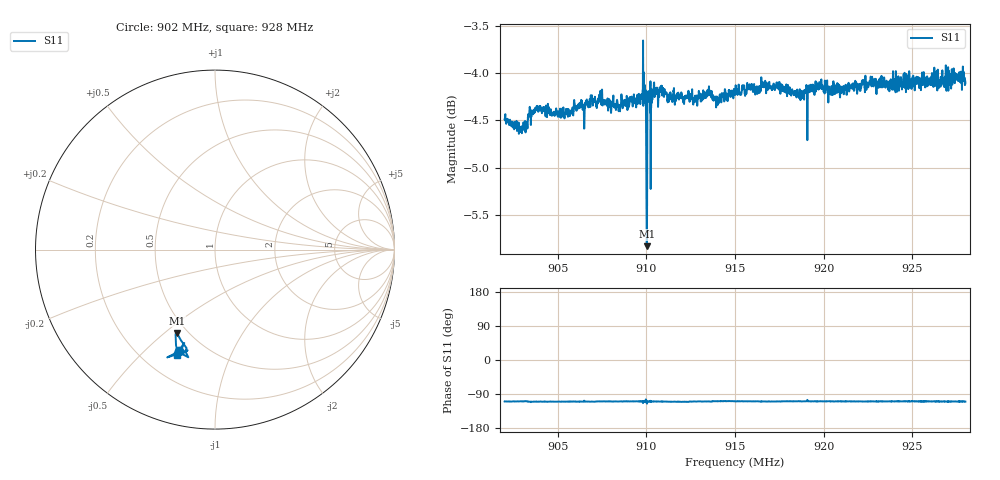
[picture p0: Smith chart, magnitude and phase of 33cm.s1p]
! Calibrated averaged scanner-service zoom
# Hz S RI R 50
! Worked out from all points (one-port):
!   2001 points, 902 MHz to 928 MHz, reference 50 ohm
!   lowest |S11| = -5.8 dB at 910.02 MHz (marker M1), VSWR 3.09, Z = 21.9 - j27.6 ohm
!   |S11| at or under -10 dB: nowhere
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9.02e8  -0.199 -0.5624
9.0317e8  -0.1916 -0.5596
9.03443e8  -0.2104 -0.5662
9.0525e8  -0.2036 -0.5661
9.06602e8  -0.2035 -0.5723
9.06992e8  -0.2107 -0.5724
9.07382e8  -0.2008 -0.5752
9.085e8  -0.1992 -0.5719
9.09839e8  -0.2238 -0.591
9.09917e8  -0.21 -0.5835
9.10021e8  -0.2121 -0.4649
9.10125e8  -0.2092 -0.5791
9.1019e8  -0.2031 -0.5761
9.10489e8  -0.2059 -0.5836
9.1175e8  -0.2089 -0.5767
9.12283e8  -0.215 -0.5746
9.12959e8  -0.2059 -0.5822
9.1357e8  -0.2063 -0.5786
9.13843e8  -0.1965 -0.5786
9.15e8  -0.1969 -0.582
9.16612e8  -0.2073 -0.5846
9.1825e8  -0.2034 -0.5813
9.18861e8  -0.2003 -0.5799
9.18978e8  -0.1993 -0.5855
9.19251e8  -0.2016 -0.5886
9.215e8  -0.2057 -0.5852
9.2475e8  -0.2016 -0.5961
9.28e8  -0.2118 -0.5861
